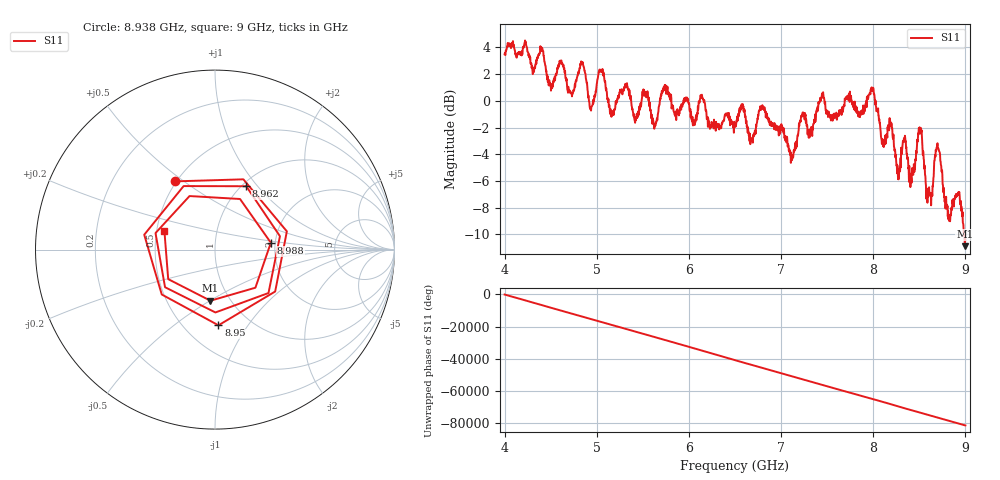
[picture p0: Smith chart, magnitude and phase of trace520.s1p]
! Created with skrf 1.8.0 (http://scikit-rf.org).
# Hz S RI R 50.0
!freq ReS11 ImS11
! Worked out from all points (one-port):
!   1601 points, 4 GHz to 9 GHz, reference 50 ohm
!   lowest |S11| = -10.9 dB at 8.994 GHz (marker M1), VSWR 1.80, Z = 40.5 - j25.2 ohm
!   |S11| at or under -10 dB: 8.983679 GHz to end of sweep
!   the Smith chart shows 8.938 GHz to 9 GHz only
!   S11 on the Smith chart (normalised r, x): 8.938 GHz: 0.49, +0.46; 8.95 GHz: 0.72, -0.74; 8.962 GHz: 1.05, +0.88; 8.988 GHz: 1.89, +0.16; 9 GHz: 0.55, +0.13
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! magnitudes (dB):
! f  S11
! 4 GHz  3.5
! 4.625 GHz  2.8
! 4.719 GHz  0.6
! 4.847 GHz  2.9
! 4.941 GHz  -0.5
! 5.041 GHz  2.2
! 5.159 GHz  -1.2
! 5.25 GHz  0.6
! 5.875 GHz  -0.6
! 6.5 GHz  -1.8
! 6.8 GHz  -0.5
! 7.125 GHz  -4.3
! 7.434 GHz  0.2
! 7.75 GHz  0.1
! 7.988 GHz  0.7
! 8.103 GHz  -3.1
! 8.375 GHz  -4.2
! 8.425 GHz  -5.2
! 8.506 GHz  -2.1
! 8.6 GHz  -6.8
! 8.7 GHz  -3.4
! 8.819 GHz  -8.5
! 8.938 GHz  -7.1
! 8.95 GHz  -7.5
! 8.962 GHz  -8.1
! 8.988 GHz  -10.1
! 8.994 GHz  -10.9
! 9 GHz  -10.4
